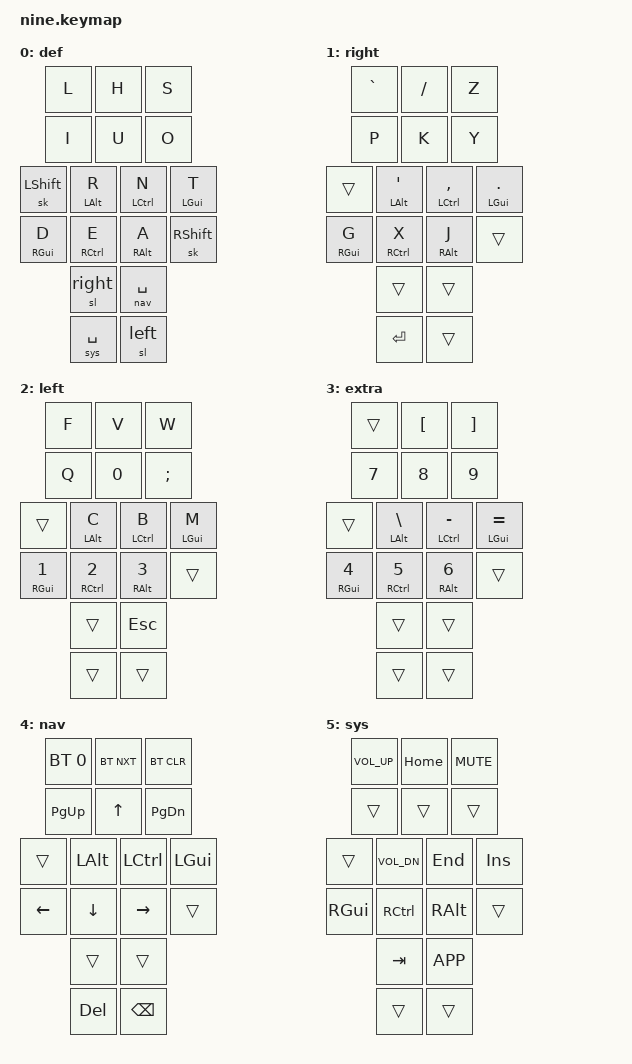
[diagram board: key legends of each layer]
#include <behaviors.dtsi>
#include <dt-bindings/zmk/keys.h>
#include <dt-bindings/zmk/bt.h>
#include <dt-bindings/zmk/outputs.h>

#define def 0
#define right 1
#define left 2
#define extra 3
#define nav 4
#define sys 5

&lt {
    flavor = "balanced";
    tapping-term-ms = <1024>;
};

&mt {
    flavor = "balanced";
    tapping-term-ms = <1024>;
};

&sk {
    quick-release;
};

&sl {
    quick-release;
};

/ {

    conditional_layers {
        compatible = "zmk,conditional-layers";
        tri_layer {
            if-layers = <right left>;
            then-layer = <extra>;
        };
    };

    keymap {
        compatible = "zmk,keymap";

        def {
            bindings = <
                                        &kp L       &kp H           &kp S
                                                                                        &kp I          &kp U        &kp O
                       &sk LSHFT     &mt LALT R   &mt LCTRL N    &mt LGUI T
                                                                                   &mt RGUI D     &mt RCTRL E      &mt RALT A    &sk RSHFT
                                                &sl right   &lt nav SPACE
                                                                                      &lt sys SPACE     &sl left
                >;
        };

        right {
            bindings = <
                                        &kp GRAVE    &kp SLASH      &kp Z
                                                                                   &kp P    &kp K    &kp Y
                        &trans     &mt LALT SQT  &mt LCTRL COMMA   &mt LGUI DOT
                                                                            &mt RGUI G   &mt RCTRL X   &mt RALT J    &trans
                                                    &trans      &trans
                                                                                 &kp RET    &trans
                >;
        };

        left {
            bindings = <
                                        &kp F      &kp V     &kp W
                                                                                   &kp Q     &kp N0    &kp SEMI
                        &trans    &mt LALT C    &mt LCTRL B   &mt LGUI M
                                                                            &mt RGUI N1   &mt RCTRL N2   &mt RALT N3    &trans
                                                    &trans      &kp ESC
                                                                                &trans     &trans
                >;
        };

        extra {
            bindings = <
                                    &trans     &kp LBKT     &kp RBKT
                                                                                  &kp N7    &kp N8   &kp N9
                       &trans   &mt LALT BSLH   &mt LCTRL MINUS   &mt LGUI EQUAL
                                                                            &mt RGUI N4  &mt RCTRL N5  &mt RALT N6   &trans
                                                    &trans      &trans
                                                                                &trans      &trans
                >;
        };

        nav {
            bindings = <
                               &bt BT_SEL 0   &bt BT_NXT     &bt BT_CLR
                                                                                &kp PG_UP      &kp UP       &kp PG_DN
                        &trans    &kp LALT      &kp LCTRL      &kp LGUI
                                                                             &kp LEFT       &kp DOWN       &kp RIGHT      &trans
                                                &trans      &trans
                                                                                &kp DEL      &kp BSPC
                >;
        };

        sys {
            bindings = <
                                   &kp C_VOL_UP    &kp HOME    &kp C_MUTE
                                                                              &trans     &trans     &trans
                        &trans     &kp C_VOL_DN     &kp END     &kp INS
                                                                            &kp RGUI     &kp RCTRL   &kp RALT    &trans
                                            &kp TAB      &kp K_APP
                                                                                &trans   &trans
                >;
        };

    };

};
